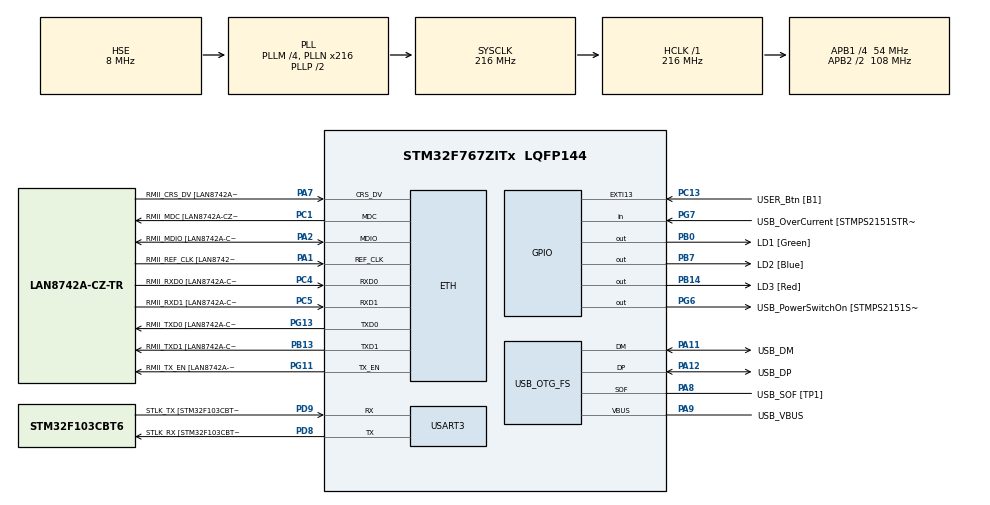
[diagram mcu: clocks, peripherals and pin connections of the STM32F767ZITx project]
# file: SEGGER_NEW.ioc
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ETH.MediaInterface=HAL_ETH_RMII_MODE
ETH.PHY_Name=LAN8742A_PHY_ADDRESS
ETH.PHY_Value=0
ETH.PhyAddress=0
FREERTOS.Tasks01=defaultTask,24,128,StartDefaultTask,Default,NULL,Dynamic,NULL,NULL;myTask_ON,24,128,StartTask_ON,Default,NULL,Dynamic,NULL,NULL;myTask_OFF,24,128,StartTask_OFF,Default,NULL,Static,myTask_OFFBuffer,myTask_OFFControlBlock
FREERTOS.configUSE_NEWLIB_REENTRANT=1
Mcu.Family=STM32F7
Mcu.Name=STM32F767ZITx
Mcu.Package=LQFP144
NVIC.PriorityGroup=NVIC_PRIORITYGROUP_4
NVIC.TIM8_TRG_COM_TIM14_IRQn=true\:15\:0\:false\:false\:true\:false\:false\:true\:true
NVIC.TimeBase=TIM8_TRG_COM_TIM14_IRQn
NVIC.TimeBaseIP=TIM14
PA1.GPIO_Label=RMII_REF_CLK [LAN8742A-CZ-TR_REFCLK0]
PA1.Mode=RMII
PA1.Signal=ETH_REF_CLK
PA10.GPIO_Label=USB_ID
PA10.Signal=USB_OTG_FS_ID
PA11.GPIO_Label=USB_DM
PA11.Mode=Device_Only
PA11.Signal=USB_OTG_FS_DM
PA12.GPIO_Label=USB_DP
PA12.Mode=Device_Only
PA12.Signal=USB_OTG_FS_DP
PA13.GPIO_Label=TMS
PA13.Mode=Trace_Asynchronous_SW
PA13.Signal=SYS_JTMS-SWDIO
PA14.GPIO_Label=TCK
PA14.Mode=Trace_Asynchronous_SW
PA14.Signal=SYS_JTCK-SWCLK
PA2.GPIO_Label=RMII_MDIO [LAN8742A-CZ-TR_MDIO]
PA2.Mode=RMII
PA2.Signal=ETH_MDIO
PA7.GPIO_Label=RMII_CRS_DV [LAN8742A-CZ-TR_CRS_DV]
PA7.Mode=RMII
PA7.Signal=ETH_CRS_DV
PA8.GPIO_Label=USB_SOF [TP1]
PA8.Mode=Activate_SOF_FS
PA8.Signal=USB_OTG_FS_SOF
PA9.GPIO_Label=USB_VBUS
PA9.Mode=Activate_VBUS
PA9.Signal=USB_OTG_FS_VBUS
PB0.GPIO_Label=LD1 [Green]
PB0.Signal=GPIO_Output
PB13.GPIO_Label=RMII_TXD1 [LAN8742A-CZ-TR_TXD1]
PB13.Mode=RMII
PB13.Signal=ETH_TXD1
PB14.GPIO_Label=LD3 [Red]
PB14.Signal=GPIO_Output
PB3.GPIO_Label=SWO
PB3.Mode=Trace_Asynchronous_SW
PB3.Signal=SYS_JTDO-SWO
PB7.GPIO_Label=LD2 [Blue]
PB7.Signal=GPIO_Output
PC1.GPIO_Label=RMII_MDC [LAN8742A-CZ-TR_MDC]
PC1.Mode=RMII
PC1.Signal=ETH_MDC
PC13.GPIO_Label=USER_Btn [B1]
PC13.Signal=GPXTI13
PC14/OSC32_IN.Mode=LSE-External-Oscillator
PC14/OSC32_IN.Signal=RCC_OSC32_IN
PC15/OSC32_OUT.Mode=LSE-External-Oscillator
PC15/OSC32_OUT.Signal=RCC_OSC32_OUT
PC4.GPIO_Label=RMII_RXD0 [LAN8742A-CZ-TR_RXD0]
PC4.Mode=RMII
PC4.Signal=ETH_RXD0
PC5.GPIO_Label=RMII_RXD1 [LAN8742A-CZ-TR_RXD1]
PC5.Mode=RMII
PC5.Signal=ETH_RXD1
PD8.GPIO_Label=STLK_RX [STM32F103CBT6_PA3]
PD8.Mode=Asynchronous
PD8.Signal=USART3_TX
PD9.GPIO_Label=STLK_TX [STM32F103CBT6_PA2]
PD9.Mode=Asynchronous
PD9.Signal=USART3_RX
PG11.GPIO_Label=RMII_TX_EN [LAN8742A-CZ-TR_TXEN]
PG11.Mode=RMII
PG11.Signal=ETH_TX_EN
PG13.GPIO_Label=RMII_TXD0 [LAN8742A-CZ-TR_TXD0]
PG13.Mode=RMII
PG13.Signal=ETH_TXD0
PG6.GPIO_Label=USB_PowerSwitchOn [STMPS2151STR_EN]
PG6.Signal=GPIO_Output
PG7.GPIO_Label=USB_OverCurrent [STMPS2151STR_FAULT]
PG7.Signal=GPIO_Input
PH0/OSC_IN.GPIO_Label=MCO [STM32F103CBT6_PA8]
PH0/OSC_IN.Mode=HSE-External-Clock-Source
PH0/OSC_IN.Signal=RCC_OSC_IN
PH1/OSC_OUT.Mode=HSE-External-Clock-Source
PH1/OSC_OUT.Signal=RCC_OSC_OUT
ProjectManager.HeapSize=0x200
ProjectManager.StackSize=0x400
ProjectManager.TargetToolchain=STM32CubeIDE
RCC.48MHZClocksFreq_Value=24000000
RCC.AHBFreq_Value=216000000
RCC.APB1CLKDivider=RCC_HCLK_DIV4
RCC.APB1Freq_Value=54000000
RCC.APB1TimFreq_Value=108000000
RCC.APB2CLKDivider=RCC_HCLK_DIV2
RCC.APB2Freq_Value=108000000
RCC.APB2TimFreq_Value=216000000
RCC.CortexFreq_Value=216000000
RCC.HCLKFreq_Value=216000000
RCC.HSE_VALUE=8000000
RCC.HSI_VALUE=16000000
RCC.PLLM=4
RCC.PLLMUL=RCC_PLL_MUL9
RCC.PLLN=216
RCC.PLLQ=9
RCC.PRESCALERUSB=RCC_USBCLKSOURCE_PLL_DIV1_5
RCC.SYSCLKFreq_VALUE=216000000
RCC.SYSCLKSource=RCC_SYSCLKSOURCE_PLLCLK
RCC.SYSCLKSourceVirtual=RCC_SYSCLKSOURCE_PLLCLK
RCC.USBFreq_Value=48000000
RCC.VCOOutputFreq_Value=432000000
USART3.VirtualMode-Asynchronous=VM_ASYNC
USB_OTG_FS.VirtualMode=Device_Only
VP_FREERTOS_VS_CMSIS_V2.Mode=CMSIS_V2
VP_SYS_VS_tim14.Mode=TIM14
board=NUCLEO-F767ZI

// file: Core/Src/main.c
/* USER CODE BEGIN Header */
/**
  ******************************************************************************
  * @file           : main.c
  * @brief          : Main program body
  ******************************************************************************
  * @attention
  *
  * Copyright (c) 2023 STMicroelectronics.
  * All rights reserved.
  *
  * This software is licensed under terms that can be found in the LICENSE file
  * in the root directory of this software component.
  * If no LICENSE file comes with this software, it is provided AS-IS.
  *
  ******************************************************************************
  */
/* USER CODE END Header */
#include "main.h"
#include "string.h"
#include "cmsis_os.h"

/* USER CODE BEGIN Includes */
#include <stdio.h> /* для printf */
#include "stdbool.h"

#include "SEGGER_SYSVIEW_Conf.h"
#include "SEGGER_SYSVIEW.h"
/* USER CODE END Includes */

typedef StaticTask_t osStaticThreadDef_t;
/* USER CODE BEGIN PTD */
bool flag;
unsigned long T;
/* USER CODE END PTD */

#if defined ( __ICCARM__ ) /*!< IAR Compiler */
#pragma location=0x2007c000
ETH_DMADescTypeDef  DMARxDscrTab[ETH_RX_DESC_CNT]; /* Ethernet Rx DMA Descriptors */
#pragma location=0x2007c0a0
ETH_DMADescTypeDef  DMATxDscrTab[ETH_TX_DESC_CNT]; /* Ethernet Tx DMA Descriptors */

#elif defined ( __CC_ARM )  /* MDK ARM Compiler */

__attribute__((at(0x2007c000))) ETH_DMADescTypeDef  DMARxDscrTab[ETH_RX_DESC_CNT]; /* Ethernet Rx DMA Descriptors */
__attribute__((at(0x2007c0a0))) ETH_DMADescTypeDef  DMATxDscrTab[ETH_TX_DESC_CNT]; /* Ethernet Tx DMA Descriptors */

#elif defined ( __GNUC__ ) /* GNU Compiler */
ETH_DMADescTypeDef DMARxDscrTab[ETH_RX_DESC_CNT] __attribute__((section(".RxDecripSection"))); /* Ethernet Rx DMA Descriptors */
ETH_DMADescTypeDef DMATxDscrTab[ETH_TX_DESC_CNT] __attribute__((section(".TxDecripSection")));   /* Ethernet Tx DMA Descriptors */

#endif

ETH_TxPacketConfig TxConfig;

ETH_HandleTypeDef heth;

UART_HandleTypeDef huart3;

PCD_HandleTypeDef hpcd_USB_OTG_FS;

/* Definitions for defaultTask */
osThreadId_t defaultTaskHandle;
const osThreadAttr_t defaultTask_attributes = {
  .name = "defaultTask",
  .stack_size = 128 * 4,
  .priority = (osPriority_t) osPriorityNormal,
};
/* Definitions for myTask_ON */
osThreadId_t myTask_ONHandle;
const osThreadAttr_t myTask_ON_attributes = {
  .name = "myTask_ON",
  .stack_size = 128 * 4,
  .priority = (osPriority_t) osPriorityNormal,
};
/* Definitions for myTask_OFF */
osThreadId_t myTask_OFFHandle;
uint32_t myTask_OFFBuffer[ 128 ];
osStaticThreadDef_t myTask_OFFControlBlock;
const osThreadAttr_t myTask_OFF_attributes = {
  .name = "myTask_OFF",
  .cb_mem = &myTask_OFFControlBlock,
  .cb_size = sizeof(myTask_OFFControlBlock),
  .stack_mem = &myTask_OFFBuffer[0],
  .stack_size = sizeof(myTask_OFFBuffer),
  .priority = (osPriority_t) osPriorityNormal,
};

void SystemClock_Config(void);
static void MX_GPIO_Init(void);
static void MX_ETH_Init(void);
static void MX_USART3_UART_Init(void);
static void MX_USB_OTG_FS_PCD_Init(void);
void StartDefaultTask(void *argument);
void StartTask_ON(void *argument);
void StartTask_OFF(void *argument);

/* USER CODE BEGIN 0 */
#ifdef __GNUC__
/* With GCC/RAISONANCE, small printf (option LD Linker->Libraries->Small printf set to 'Yes') calls __io_putchar() */
#define PUTCHAR_PROTOTYPE int __io_putchar(int ch)
#else
#define PUTCHAR_PROTOTYPE int fputc(int ch, FILE *f)
#endif /* __GNUC__ */
/* USER CODE END 0 */

int main(void)
{
  /* USER CODE BEGIN 1 */
	SEGGER_SYSVIEW_Conf();
//	SEGGER_RTL_HeapAlloc();
//	SEGGER_RTL_HeapFree();
  /* USER CODE END 1 */

  /* MCU Configuration--------------------------------------------------------*/

  /* Reset of all peripherals, Initializes the Flash interface and the Systick. */
  HAL_Init();

  /* USER CODE BEGIN Init */
	T = HAL_GetTick();
	flag = 1;
  /* USER CODE END Init */

  /* Configure the system clock */
  SystemClock_Config();

  /* Initialize all configured peripherals */
  MX_GPIO_Init();
  MX_ETH_Init();
  MX_USART3_UART_Init();
  MX_USB_OTG_FS_PCD_Init();

  /* Init scheduler */
  osKernelInitialize();

  /* Create the thread(s) */
  /* creation of defaultTask */
  defaultTaskHandle = osThreadNew(StartDefaultTask, NULL, &defaultTask_attributes);

  /* creation of myTask_ON */
  myTask_ONHandle = osThreadNew(StartTask_ON, NULL, &myTask_ON_attributes);

  /* creation of myTask_OFF */
  myTask_OFFHandle = osThreadNew(StartTask_OFF, NULL, &myTask_OFF_attributes);

  /* USER CODE BEGIN RTOS_EVENTS */
  /* add events, ... */
  printf("SEGGER \r\n");
  /* USER CODE END RTOS_EVENTS */

  /* Start scheduler */
  osKernelStart();

  /* We should never get here as control is now taken by the scheduler */
  /* Infinite loop */
  while (1)
  {

  }
}

void SystemClock_Config(void)
{
  RCC_OscInitTypeDef RCC_OscInitStruct = {0};
  RCC_ClkInitTypeDef RCC_ClkInitStruct = {0};

  /** Configure LSE Drive Capability
  */
  HAL_PWR_EnableBkUpAccess();

  /** Configure the main internal regulator output voltage
  */
  __HAL_RCC_PWR_CLK_ENABLE();
  __HAL_PWR_VOLTAGESCALING_CONFIG(PWR_REGULATOR_VOLTAGE_SCALE1);

  /** Initializes the RCC Oscillators according to the specified parameters
  * in the RCC_OscInitTypeDef structure.
  */
  RCC_OscInitStruct.OscillatorType = RCC_OSCILLATORTYPE_HSE;
  RCC_OscInitStruct.HSEState = RCC_HSE_BYPASS;
  RCC_OscInitStruct.PLL.PLLState = RCC_PLL_ON;
  RCC_OscInitStruct.PLL.PLLSource = RCC_PLLSOURCE_HSE;
  RCC_OscInitStruct.PLL.PLLM = 4;
  RCC_OscInitStruct.PLL.PLLN = 216;
  RCC_OscInitStruct.PLL.PLLP = RCC_PLLP_DIV2;
  RCC_OscInitStruct.PLL.PLLQ = 9;
  RCC_OscInitStruct.PLL.PLLR = 2;
  if (HAL_RCC_OscConfig(&RCC_OscInitStruct) != HAL_OK)
  {
    Error_Handler();
  }

  /** Activate the Over-Drive mode
  */
  if (HAL_PWREx_EnableOverDrive() != HAL_OK)
  {
    Error_Handler();
  }

  /** Initializes the CPU, AHB and APB buses clocks
  */
  RCC_ClkInitStruct.ClockType = RCC_CLOCKTYPE_HCLK|RCC_CLOCKTYPE_SYSCLK
                              |RCC_CLOCKTYPE_PCLK1|RCC_CLOCKTYPE_PCLK2;
  RCC_ClkInitStruct.SYSCLKSource = RCC_SYSCLKSOURCE_PLLCLK;
  RCC_ClkInitStruct.AHBCLKDivider = RCC_SYSCLK_DIV1;
  RCC_ClkInitStruct.APB1CLKDivider = RCC_HCLK_DIV4;
  RCC_ClkInitStruct.APB2CLKDivider = RCC_HCLK_DIV2;

  if (HAL_RCC_ClockConfig(&RCC_ClkInitStruct, FLASH_LATENCY_7) != HAL_OK)
  {
    Error_Handler();
  }
}

static void MX_ETH_Init(void)
{

   static uint8_t MACAddr[6];

  heth.Instance = ETH;
  MACAddr[0] = 0x00;
  MACAddr[1] = 0x80;
  MACAddr[2] = 0xE1;
  MACAddr[3] = 0x00;
  MACAddr[4] = 0x00;
  MACAddr[5] = 0x00;
  heth.Init.MACAddr = &MACAddr[0];
  heth.Init.MediaInterface = HAL_ETH_RMII_MODE;
  heth.Init.TxDesc = DMATxDscrTab;
  heth.Init.RxDesc = DMARxDscrTab;
  heth.Init.RxBuffLen = 1524;

  if (HAL_ETH_Init(&heth) != HAL_OK)
  {
    Error_Handler();
  }

  memset(&TxConfig, 0 , sizeof(ETH_TxPacketConfig));
  TxConfig.Attributes = ETH_TX_PACKETS_FEATURES_CSUM | ETH_TX_PACKETS_FEATURES_CRCPAD;
  TxConfig.ChecksumCtrl = ETH_CHECKSUM_IPHDR_PAYLOAD_INSERT_PHDR_CALC;
  TxConfig.CRCPadCtrl = ETH_CRC_PAD_INSERT;

}

static void MX_USART3_UART_Init(void)
{

  huart3.Instance = USART3;
  huart3.Init.BaudRate = 115200;
  huart3.Init.WordLength = UART_WORDLENGTH_8B;
  huart3.Init.StopBits = UART_STOPBITS_1;
  huart3.Init.Parity = UART_PARITY_NONE;
  huart3.Init.Mode = UART_MODE_TX_RX;
  huart3.Init.HwFlowCtl = UART_HWCONTROL_NONE;
  huart3.Init.OverSampling = UART_OVERSAMPLING_16;
  huart3.Init.OneBitSampling = UART_ONE_BIT_SAMPLE_DISABLE;
  huart3.AdvancedInit.AdvFeatureInit = UART_ADVFEATURE_NO_INIT;
  if (HAL_UART_Init(&huart3) != HAL_OK)
  {
    Error_Handler();
  }

}

static void MX_USB_OTG_FS_PCD_Init(void)
{

  hpcd_USB_OTG_FS.Instance = USB_OTG_FS;
  hpcd_USB_OTG_FS.Init.dev_endpoints = 6;
  hpcd_USB_OTG_FS.Init.speed = PCD_SPEED_FULL;
  hpcd_USB_OTG_FS.Init.dma_enable = DISABLE;
  hpcd_USB_OTG_FS.Init.phy_itface = PCD_PHY_EMBEDDED;
  hpcd_USB_OTG_FS.Init.Sof_enable = ENABLE;
  hpcd_USB_OTG_FS.Init.low_power_enable = DISABLE;
  hpcd_USB_OTG_FS.Init.lpm_enable = DISABLE;
  hpcd_USB_OTG_FS.Init.vbus_sensing_enable = ENABLE;
  hpcd_USB_OTG_FS.Init.use_dedicated_ep1 = DISABLE;
  if (HAL_PCD_Init(&hpcd_USB_OTG_FS) != HAL_OK)
  {
    Error_Handler();
  }

}

static void MX_GPIO_Init(void)
{
  GPIO_InitTypeDef GPIO_InitStruct = {0};

  /* GPIO Ports Clock Enable */
  __HAL_RCC_GPIOC_CLK_ENABLE();
  __HAL_RCC_GPIOH_CLK_ENABLE();
  __HAL_RCC_GPIOA_CLK_ENABLE();
  __HAL_RCC_GPIOB_CLK_ENABLE();
  __HAL_RCC_GPIOD_CLK_ENABLE();
  __HAL_RCC_GPIOG_CLK_ENABLE();

  /*Configure GPIO pin Output Level */
  HAL_GPIO_WritePin(GPIOB, LD1_Pin|LD3_Pin|LD2_Pin, GPIO_PIN_RESET);

  /*Configure GPIO pin Output Level */
  HAL_GPIO_WritePin(USB_PowerSwitchOn_GPIO_Port, USB_PowerSwitchOn_Pin, GPIO_PIN_RESET);

  /*Configure GPIO pin : USER_Btn_Pin */
  GPIO_InitStruct.Pin = USER_Btn_Pin;
  GPIO_InitStruct.Mode = GPIO_MODE_IT_RISING;
  GPIO_InitStruct.Pull = GPIO_NOPULL;
  HAL_GPIO_Init(USER_Btn_GPIO_Port, &GPIO_InitStruct);

  /*Configure GPIO pins : LD1_Pin LD3_Pin LD2_Pin */
  GPIO_InitStruct.Pin = LD1_Pin|LD3_Pin|LD2_Pin;
  GPIO_InitStruct.Mode = GPIO_MODE_OUTPUT_PP;
  GPIO_InitStruct.Pull = GPIO_NOPULL;
  GPIO_InitStruct.Speed = GPIO_SPEED_FREQ_LOW;
  HAL_GPIO_Init(GPIOB, &GPIO_InitStruct);

  /*Configure GPIO pin : USB_PowerSwitchOn_Pin */
  GPIO_InitStruct.Pin = USB_PowerSwitchOn_Pin;
  GPIO_InitStruct.Mode = GPIO_MODE_OUTPUT_PP;
  GPIO_InitStruct.Pull = GPIO_NOPULL;
  GPIO_InitStruct.Speed = GPIO_SPEED_FREQ_LOW;
  HAL_GPIO_Init(USB_PowerSwitchOn_GPIO_Port, &GPIO_InitStruct);

  /*Configure GPIO pin : USB_OverCurrent_Pin */
  GPIO_InitStruct.Pin = USB_OverCurrent_Pin;
  GPIO_InitStruct.Mode = GPIO_MODE_INPUT;
  GPIO_InitStruct.Pull = GPIO_NOPULL;
  HAL_GPIO_Init(USB_OverCurrent_GPIO_Port, &GPIO_InitStruct);

}

/* USER CODE BEGIN 4 */
PUTCHAR_PROTOTYPE
{
  /* Place your implementation of fputc here */
  /* e.g. write a character to the USART1 and Loop until the end of transmission */
  HAL_UART_Transmit(&huart3, (uint8_t *)&ch, 1, 0xFFFF);
  return ch;
}
/* USER CODE END 4 */

void StartDefaultTask(void *argument)
{
  for(;;)
  {
    osDelay(1);
  }
}

void StartTask_ON(void *argument)
{
  /* USER CODE BEGIN StartTask_ON */
  /* Infinite loop */
  for(;;)
	{
		if (flag == 0) {
			if (HAL_GetTick() - T >= 250) {
				flag = 1;
				T = HAL_GetTick();
			}
		}
		HAL_GPIO_WritePin(LD1_GPIO_Port, LD1_Pin, flag);
		HAL_GPIO_WritePin(LD2_GPIO_Port, LD2_Pin, flag);
		HAL_GPIO_WritePin(LD3_GPIO_Port, LD3_Pin, flag);
		//osDelay(1);
	}
  /* USER CODE END StartTask_ON */
}

void StartTask_OFF(void *argument)
{
  /* USER CODE BEGIN StartTask_OFF */
  /* Infinite loop */
  for(;;)
	{
		if (flag == 1) {
			if (HAL_GetTick() - T >= 250) {
				flag = 0;
				T = HAL_GetTick();
			}
		}
		HAL_GPIO_WritePin(LD1_GPIO_Port, LD1_Pin, flag);
		HAL_GPIO_WritePin(LD2_GPIO_Port, LD2_Pin, flag);
		HAL_GPIO_WritePin(LD3_GPIO_Port, LD3_Pin, flag);
		//osDelay(1);
	}
  /* USER CODE END StartTask_OFF */
}

void HAL_TIM_PeriodElapsedCallback(TIM_HandleTypeDef *htim)
{
  if (htim->Instance == TIM14) {
    HAL_IncTick();
  }
}

void Error_Handler(void)
{
  __disable_irq();
  while (1)
  {
  }
}
